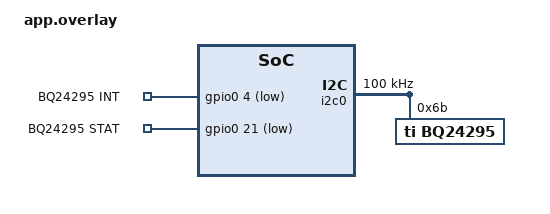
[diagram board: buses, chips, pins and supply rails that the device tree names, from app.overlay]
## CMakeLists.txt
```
cmake_minimum_required(VERSION 3.20.0)

find_package(Zephyr REQUIRED HINTS $ENV{ZEPHYR_BASE})
project(BQ24295Validator)

zephyr_include_directories(inc)

target_sources(app PRIVATE
    src/main.c
)
```

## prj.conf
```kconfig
CONFIG_PRINTK=y

CONFIG_GPIO=y
CONFIG_I2C=y

CONFIG_LOG=y
CONFIG_LOG_DEFAULT_LEVEL=3

CONFIG_CHARGER=y
CONFIG_CHARGER_BQ24295=y

CONFIG_SERIAL=y
CONFIG_CONSOLE=y
CONFIG_STDOUT_CONSOLE=y

CONFIG_CBPRINTF_FP_SUPPORT=y
CONFIG_PICOLIBC=y
CONFIG_REQUIRES_FULL_LIBC=y
```

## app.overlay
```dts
#include <zephyr/dt-bindings/i2c/i2c.h>
#include <zephyr/dt-bindings/gpio/gpio.h>

/ {
	bq24295_test {
		compatible = "gpio-keys";

		bq24295_int: int {
			gpios = <&gpio0 4 GPIO_ACTIVE_LOW>;
			label = "BQ24295 INT";
		};

		bq24295_stat: stat {
			gpios = <&gpio0 21 GPIO_ACTIVE_LOW>;
			label = "BQ24295 STAT";
		};
	};
};

&pinctrl {
    i2c0_default: i2c0_default {
        group1 {
            pinmux = <I2C0_SDA_GPIO13>,
                     <I2C0_SCL_GPIO14>;
            bias-pull-up;
            drive-open-drain;
        };
    };
};

&i2c0 {
    status = "okay";
    clock-frequency = <I2C_BITRATE_STANDARD>;

    pinctrl-0 = <&i2c0_default>;
    pinctrl-names = "default";

    bq24295: charger@6b {
        compatible = "ti,bq24295";
        reg = <0x6b>;

        status = "okay";

        /* Required by binding */
        constant-charge-current-max-microamp = <512000>;
        constant-charge-voltage-max-microvolt = <4208000>;

        watchdog-timeout-ms = <0>;

        // ce-gpios = <&gpio0 3 GPIO_ACTIVE_LOW>;
    };
};
```

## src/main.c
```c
/*
 * Copyright 2026 Sacra Systems Private Limited
 *
 * SPDX-License-Identifier: Apache-2.0
 */

#include <zephyr/kernel.h>
#include <zephyr/device.h>
#include <zephyr/devicetree.h>
#include <zephyr/drivers/gpio.h>
#include <zephyr/drivers/charger.h>

#define BQ24295_NODE DT_NODELABEL(bq24295)
#define BQ24295_INT_NODE  DT_NODELABEL(bq24295_int)
#define BQ24295_STAT_NODE DT_NODELABEL(bq24295_stat)
#define BQ24295_CE_NODE   DT_NODELABEL(bq24295_ce)

static const struct gpio_dt_spec int_gpio =
	GPIO_DT_SPEC_GET(BQ24295_INT_NODE, gpios);

static const struct gpio_dt_spec stat_gpio =
	GPIO_DT_SPEC_GET(BQ24295_STAT_NODE, gpios);

static struct gpio_callback int_cb_data;
static struct gpio_callback stat_cb_data;

static void int_callback(const struct device *port,
			 struct gpio_callback *cb,
			 gpio_port_pins_t pins)
{
	printk("INT interrupt\n");
}

static void stat_callback(const struct device *port,
			  struct gpio_callback *cb,
			  gpio_port_pins_t pins)
{
	// printk("STAT changed: %d\n", gpio_pin_get_dt(&stat_gpio));
}

int main(void)
{
	const struct device *charger = DEVICE_DT_GET(BQ24295_NODE);
	union charger_propval val;
	int ret;

	/*INT gpioS validation Start*/

	printk("BQ24295 GPIO Test\n");

	/* Check GPIO devices */
	if (!gpio_is_ready_dt(&int_gpio) ||
	    !gpio_is_ready_dt(&stat_gpio)) {
		printk("GPIO device not ready\n");
		return -ENODEV;
	}

	/* Configure INT as input */
	ret = gpio_pin_configure_dt(&int_gpio, GPIO_INPUT);
	if (ret) {
		printk("Failed to configure INT (%d)\n", ret);
		return ret;
	}

	/* Configure STAT as input */
	ret = gpio_pin_configure_dt(&stat_gpio, GPIO_INPUT);
	if (ret) {
		printk("Failed to configure STAT (%d)\n", ret);
		return ret;
	}

	/* Register INT callback */
	gpio_init_callback(&int_cb_data,
			   int_callback,
			   BIT(int_gpio.pin));

	gpio_add_callback(int_gpio.port, &int_cb_data);

	ret = gpio_pin_interrupt_configure_dt(&int_gpio,
					      GPIO_INT_EDGE_FALLING);
	if (ret) {
		printk("Failed to configure INT interrupt (%d)\n", ret);
		return ret;
	}

	/* Register STAT callback */
	gpio_init_callback(&stat_cb_data,
			   stat_callback,
			   BIT(stat_gpio.pin));

	gpio_add_callback(stat_gpio.port, &stat_cb_data);

	ret = gpio_pin_interrupt_configure_dt(&stat_gpio,
					      GPIO_INT_EDGE_BOTH);
	if (ret) {
		printk("Failed to configure STAT interrupt (%d)\n", ret);
		return ret;
	}

	printk("Initialization complete\n");

	/*INT gpioS validation End*/

	printk("\n=== BQ24295 Charger Driver Validation ===\n");

	if (!device_is_ready(charger)) {
		printk("BQ24295 device not ready\n");
		return 0;
	}

	printk("BQ24295 device ready\n");

	uint32_t new_current = 512000; /* 512 mA */
	val.const_charge_current_ua = new_current;

	ret = charger_set_prop(charger,
				CHARGER_PROP_CONSTANT_CHARGE_CURRENT_UA,
				&val);
	if (ret == 0) {
		printk("CONSTANT CHARGE CURRENT set to : %u uA\n",
			val.const_charge_current_ua);
	} else if (ret == -ENOTSUP) {
		printk("CONSTANT CHARGE CURRENT property not supported\n");
	} else {
		printk("charger_set_prop() failed (%d)\n", ret);
	}

	uint32_t new_voltage = 4208000; /* 4.2 V */
	val.const_charge_voltage_uv = new_voltage;

	ret = charger_set_prop(charger,
				CHARGER_PROP_CONSTANT_CHARGE_VOLTAGE_UV,
				&val);
	if (ret == 0) {
		printk("CONSTANT CHARGE VOLTAGE set to : %u uV\n",
			val.const_charge_voltage_uv);
	} else if (ret == -ENOTSUP) {
		printk("CONSTANT CHARGE VOLTAGE property not supported\n");
	} else {
		printk("charger_set_prop() failed (%d)\n", ret);
	}

	uint32_t new_input_current = 500000; /* 500 mA */
	val.input_current_regulation_current_ua = new_input_current;

	ret = charger_set_prop(charger,
				CHARGER_PROP_INPUT_REGULATION_CURRENT_UA,
				&val);
	if (ret == 0) {
		printk("INPUT REGULATION CURRENT set to : %u uA\n",
			val.input_current_regulation_current_ua);
	} else if (ret == -ENOTSUP) {
		printk("INPUT REGULATION CURRENT property not supported\n");
	} else {
		printk("charger_set_prop() failed (%d)\n", ret);
	}

	uint32_t new_input_voltage = 4760000; /* 4.76 V */
	val.input_voltage_regulation_voltage_uv = new_input_voltage;

	ret = charger_set_prop(charger,
				CHARGER_PROP_INPUT_REGULATION_VOLTAGE_UV,
				&val);
	if (ret == 0) {
		printk("INPUT REGULATION VOLTAGE set to : %u uV\n",
			val.input_voltage_regulation_voltage_uv);
	} else if (ret == -ENOTSUP) {
		printk("INPUT REGULATION VOLTAGE property not supported\n");
	} else {
		printk("charger_set_prop() failed (%d)\n", ret);
	}

	
	uint32_t precharge_current = 256000; /* 256 mA */
	val.precharge_current_ua = precharge_current;
	ret = charger_set_prop(charger, CHARGER_PROP_PRECHARGE_CURRENT_UA, &val);
	if (ret == 0) {
		printk("PRECHARGE CURRENT set to : %u uA\n", val.precharge_current_ua);
	} else if (ret == -ENOTSUP) {
		printk("PRECHARGE CURRENT property not supported\n");
	} else {
		printk("charger_set_prop() failed (%d)\n", ret);
	}
	
	uint32_t termination_current = 256000; /* 256 mA */
	val.charge_term_current_ua = termination_current;
	ret = charger_set_prop(charger, CHARGER_PROP_CHARGE_TERM_CURRENT_UA, &val);
	if (ret == 0) {
		printk("CHARGE TERMINATION CURRENT set to : %u uA\n", val.charge_term_current_ua);
	} else if (ret == -ENOTSUP) {
		printk("CHARGE TERMINATION CURRENT property not supported\n");
	} else {
		printk("charger_set_prop() failed (%d)\n", ret);
	}
	
	ret = charger_charge_enable(charger, true);
	if (ret == 0) {
		printk("CHARGING ENABLED\n");
	} else if (ret == -ENOTSUP) {
		printk("CHARGING ENABLE property not supported\n");
	} else {
		printk("charger_charge_enable() failed (%d)\n", ret);
	}

	while (1) {

		printk("INT=%d STAT=%d\n",
			gpio_pin_get_dt(&int_gpio),
			gpio_pin_get_dt(&stat_gpio));
 
		 k_sleep(K_SECONDS(1));

		ret = charger_get_prop(charger,
				       CHARGER_PROP_ONLINE,
				       &val);

		if (ret == 0) {
			printk("ONLINE : %s\n",
			       val.online == CHARGER_ONLINE_FIXED ? "YES" : "NO");
		} else if (ret == -ENOTSUP) {
			printk("ONLINE property not supported\n");
		} else {
			printk("charger_get_prop() failed (%d)\n", ret);
		}

		ret = charger_get_prop(charger,
				       CHARGER_PROP_STATUS,
				       &val);

		if (ret == 0) {
			switch (val.status) {
			case CHARGER_STATUS_UNKNOWN:
				printk("STATUS : UNKNOWN\n");
				break;
			case CHARGER_STATUS_CHARGING:
				printk("STATUS : CHARGING\n");
				break;
			case CHARGER_STATUS_NOT_CHARGING:
				printk("STATUS : NOT CHARGING\n");
				break;
			case CHARGER_STATUS_FULL:
				printk("STATUS : CHARGE DONE\n");
				break;
			default:
				printk("STATUS : UNKNOWN\n");
				break;
			}
		} else if (ret == -ENOTSUP) {
			printk("STATUS property not supported\n");
		} else {
			printk("charger_get_prop() failed (%d)\n", ret);
		}

		ret = charger_get_prop(charger,
				       CHARGER_PROP_CHARGE_TYPE,
				       &val);
		if (ret == 0) {
			switch (val.charge_type) {
			case CHARGER_CHARGE_TYPE_UNKNOWN:
				printk("CHARGE TYPE : UNKNOWN\n");
				break;
			case CHARGER_CHARGE_TYPE_STANDARD:
				printk("CHARGE TYPE : STANDARD\n");
				break;
			default:
				printk("CHARGE TYPE : UNKNOWN\n");
				break;
			}
		} else if (ret == -ENOTSUP) {
			printk("CHARGE TYPE property not supported\n");
		} else {
			printk("charger_get_prop() failed (%d)\n", ret);
		}

		ret = charger_get_prop(charger,
				       CHARGER_PROP_HEALTH,
				       &val);
		if (ret == 0) {
			switch (val.health) {
			case CHARGER_HEALTH_UNKNOWN:
				printk("HEALTH : UNKNOWN\n");
				break;
			case CHARGER_HEALTH_GOOD:
				printk("HEALTH : GOOD\n");
				break;
			case CHARGER_HEALTH_COLD:
				printk("HEALTH : COLD\n");
				break;
			case CHARGER_HEALTH_HOT:
				printk("HEALTH : HOT\n");
				break;
			case CHARGER_HEALTH_OVERVOLTAGE:
				printk("HEALTH : OVERVOLTAGE\n");
				break;
			case CHARGER_HEALTH_UNSPEC_FAILURE:
				printk("HEALTH : UNSPEC_FAILURE\n");
				break;
			case CHARGER_HEALTH_WATCHDOG_TIMER_EXPIRE:
				printk("HEALTH : WATCHDOG_TIMER_EXPIRE\n");
				break;
			case CHARGER_HEALTH_SAFETY_TIMER_EXPIRE:
				printk("HEALTH : SAFETY_TIMER_EXPIRE\n");
				break;
			default:
				printk("HEALTH : UNKNOWN\n");
				break;
			}
		} else if (ret == -ENOTSUP) {
			printk("HEALTH property not supported\n");
		} else {
			printk("charger_get_prop() failed (%d)\n", ret);
		}

		ret = charger_get_prop(charger,
				       CHARGER_PROP_CONSTANT_CHARGE_CURRENT_UA,
				       &val);
		if (ret == 0) {
			printk("CONSTANT CHARGE CURRENT : %u uA\n",
			       val.const_charge_current_ua);
		} else if (ret == -ENOTSUP) {
			printk("CONSTANT CHARGE CURRENT property not supported\n");
		} else {
			printk("charger_get_prop() failed (%d)\n", ret);
		}

		ret = charger_get_prop(charger,
				       CHARGER_PROP_PRECHARGE_CURRENT_UA,
				       &val);
		if (ret == 0) {
			printk("PRECHARGE CURRENT : %u uA\n",
			       val.precharge_current_ua);
		} else if (ret == -ENOTSUP) {
			printk("PRECHARGE CURRENT property not supported\n");
		} else {
			printk("charger_get_prop() failed (%d)\n", ret);
		}

		ret = charger_get_prop(charger,
				       CHARGER_PROP_CHARGE_TERM_CURRENT_UA,
				       &val);
		if (ret == 0) {
			printk("CHARGE TERMINATION CURRENT : %u uA\n",
			       val.charge_term_current_ua);
		} else if (ret == -ENOTSUP) {
			printk("CHARGE TERMINATION CURRENT property not supported\n");
		} else {
			printk("charger_get_prop() failed (%d)\n", ret);
		}

		ret = charger_get_prop(charger,
				       CHARGER_PROP_CONSTANT_CHARGE_VOLTAGE_UV,
				       &val);
		if (ret == 0) {
			printk("CONSTANT CHARGE VOLTAGE : %u uV\n",
			       val.const_charge_voltage_uv);
		} else if (ret == -ENOTSUP) {
			printk("CONSTANT CHARGE VOLTAGE property not supported\n");
		} else {
			printk("charger_get_prop() failed (%d)\n", ret);
		}

		ret = charger_get_prop(charger,
				       CHARGER_PROP_INPUT_REGULATION_CURRENT_UA,
				       &val);
		if (ret == 0) {
			printk("INPUT REGULATION CURRENT : %u uA\n",
			       val.input_current_regulation_current_ua);
		} else if (ret == -ENOTSUP) {
			printk("INPUT REGULATION CURRENT property not supported\n");
		} else {
			printk("charger_get_prop() failed (%d)\n", ret);
		}

		ret = charger_get_prop(charger,
				       CHARGER_PROP_INPUT_REGULATION_VOLTAGE_UV,
				       &val);
		if (ret == 0) {
			printk("INPUT REGULATION VOLTAGE : %u uV\n",
			       val.input_voltage_regulation_voltage_uv);
		} else if (ret == -ENOTSUP) {
			printk("INPUT REGULATION VOLTAGE property not supported\n");
		} else {
			printk("charger_get_prop() failed (%d)\n", ret);
		}

		k_sleep(K_SECONDS(10));
	}

	return 0;
}
```
